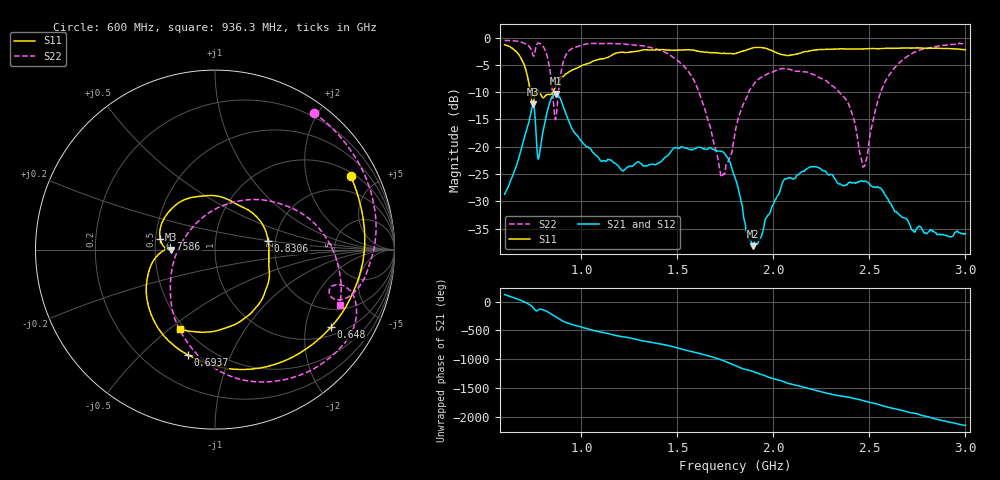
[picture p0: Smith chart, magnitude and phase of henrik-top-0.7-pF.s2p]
#  HZ  S  RI  R  50.00
! Rohde & Schwarz ZVB8 2Ports - Version 2.81 - 1145.1010k08 SN: 100113
! Date: 2016-04-20 02:28:01
! Measurements: S11 S21 S12 S22
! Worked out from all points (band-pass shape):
!   1000 points, 600 MHz to 3 GHz, reference 50 ohm
!   highest |S21| = -10.30 dB at 866.7 MHz (marker M1); lowest = -38.2 dB at 1.892 GHz (marker M2)
!   |S21| within 3 dB of the highest: 739.9 MHz to 755.4 MHz (15.46 MHz wide, 2.07 % of centre); 824 MHz to 912 MHz (87.99 MHz wide, 10.1 % of centre)
!   lowest |S11| = -12.2 dB at 746.5 MHz (marker M3), VSWR 1.65, Z = 30.4 - j0.0097 ohm
!   |S11| at or under -10 dB: 734.5 MHz to 759.4 MHz (24.94 MHz wide, 3.34 % of centre); 778.7 MHz to 852.1 MHz (73.35 MHz wide, 9 % of centre)
!   |S22| runs from -25.6 to -0.5 dB; largest |S21 - S12| = 0.0029
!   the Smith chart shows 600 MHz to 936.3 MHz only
!   S11 on the Smith chart (normalised r, x): 600 MHz: 1.16, +3.62; 648 MHz: 1.28, -2.78; 693.7 MHz: 0.38, -0.70; 758.6 MHz: 0.53, +0.07; 830.6 MHz: 1.83, +0.19; 936.3 MHz: 0.47, -0.54
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6e8  0.7563 0.4074  -0.0188 0.0314  -0.0189 0.0314  0.5513 0.7619
6.48048e8  0.6471 -0.4309  0.0244 0.0526  0.0244 0.0526  0.813 0.4576
6.936937e8  -0.1511 -0.5866  0.1037 0.0155  0.1035 0.0158  0.8955 0.0748
7.465465e8  -0.2443 -0.00015  -0.0325 -0.2358  -0.0324 -0.2356  0.6495 -0.2666
7.585586e8  -0.306 0.0597  -0.1569 -0.1022  -0.1567 -0.1014  0.7225 -0.2029
8.306306e8  0.296 0.0468  -0.2372 0.043  -0.2372 0.0431  -0.1239 -0.5568
8.666667e8  0.2875 -0.2107  -0.0245 0.3046  -0.0244 0.3045  -0.111 0.1408
9.363363e8  -0.197 -0.4427  0.157 -0.0607  0.1567 -0.0607  0.6949 -0.3066
1.001201e9  -0.5402 -0.1198  0.0115 -0.1113  0.0115 -0.1111  0.3499 -0.7753
1.181381e9  0.1826 0.6969  -0.0463 0.0512  -0.0462 0.0511  -0.7796 -0.4044
1.299099e9  0.7478 0.0892  0.0408 0.0598  0.0406 0.0599  -0.744 0.4041
1.4e9  0.4954 -0.5934  0.0699 -0.00876  0.0699 -0.00862  -0.1216 0.7678
1.596997e9  -0.7006 -0.2835  -0.0914 -0.0313  -0.0914 -0.0314  0.3294 -0.1626
1.731532e9  -0.531 0.4805  0.0306 0.0853  0.0303 0.0852  -0.00742 -0.0522
1.801201e9  -0.2379 0.6732  0.047 -0.0211  0.0469 -0.0211  -0.1201 -0.068
1.892492e9  0.2671 0.7579  -0.00745 -0.00972  -0.00745 -0.00976  -0.1366 0.3333
2.048649e9  0.6929 0.0557  0.0227 0.0419  0.0227 0.0419  0.4916 0.1654
2.2e9  0.5288 -0.5479  0.016 -0.0636  0.016 -0.0636  0.3333 -0.3203
2.471471e9  -0.6912 -0.3752  0.00267 0.048  0.00265 0.048  0.0144 -0.0644
2.601201e9  -0.7448 0.2814  0.0273 -0.0161  0.0273 -0.0161  0.1887 -0.4078
2.793393e9  0.0226 0.7974  -0.0161 0.000559  -0.0161 0.000601  -0.6824 -0.4037
3e9  0.7559 0.167  0.015 0.00538  0.015 0.00537  -0.5735 0.671
